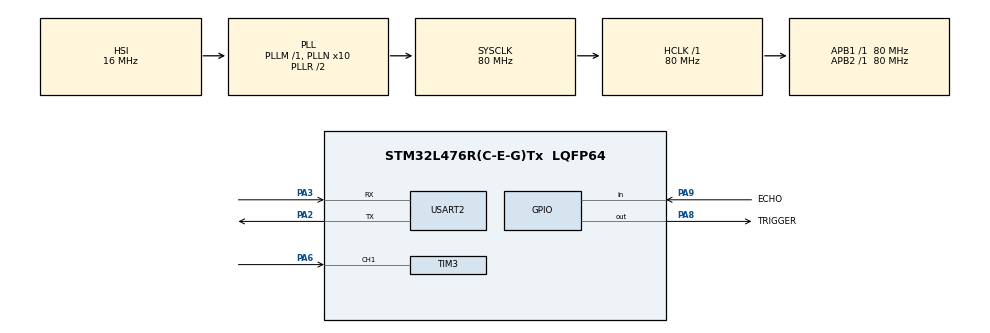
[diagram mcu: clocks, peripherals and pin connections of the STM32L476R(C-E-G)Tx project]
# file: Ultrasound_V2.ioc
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Mcu.Family=STM32L4
Mcu.Name=STM32L476R(C-E-G)Tx
Mcu.Package=LQFP64
NVIC.PriorityGroup=NVIC_PRIORITYGROUP_3
NVIC.TIM3_IRQn=true\:0\:0\:false\:false\:true\:true\:true
PA2.Mode=Asynchronous
PA2.Signal=USART2_TX
PA3.Mode=Asynchronous
PA3.Signal=USART2_RX
PA6.Signal=S_TIM3_CH1
PA8.GPIO_Label=TRIGGER
PA8.Signal=GPIO_Output
PA9.GPIO_Label=ECHO
PA9.Signal=GPIO_Input
ProjectManager.HeapSize=0x200
ProjectManager.StackSize=0x400
ProjectManager.TargetToolchain=STM32CubeIDE
RCC.ADCFreq_Value=64000000
RCC.AHBFreq_Value=80000000
RCC.APB1Freq_Value=80000000
RCC.APB1TimFreq_Value=80000000
RCC.APB2Freq_Value=80000000
RCC.APB2TimFreq_Value=80000000
RCC.CortexFreq_Value=80000000
RCC.HCLKFreq_Value=80000000
RCC.HSE_VALUE=8000000
RCC.HSI_VALUE=16000000
RCC.LSE_VALUE=32768
RCC.MSI_VALUE=4000000
RCC.PLLN=10
RCC.PLLSourceVirtual=RCC_PLLSOURCE_HSI
RCC.PREFETCH_ENABLE=1
RCC.SYSCLKFreq_VALUE=80000000
RCC.SYSCLKSource=RCC_SYSCLKSOURCE_PLLCLK
RCC.USBFreq_Value=64000000
RCC.VCOOutputFreq_Value=160000000
SH.S_TIM3_CH1.0=TIM3_CH1,Input_Capture1_from_TI1
TIM3.Channel-Input_Capture1_from_TI1=TIM_CHANNEL_1
TIM3.ICFilter_CH1=4
TIM3.ICPolarity_CH1=TIM_INPUTCHANNELPOLARITY_BOTHEDGE
TIM3.Period=65535-1
TIM3.Prescaler=80-1
TIM4.Period=0
TIM4.Prescaler=80-1
USART2.VirtualMode-Asynchronous=VM_ASYNC
VP_TIM3_VS_ClockSourceINT.Mode=Internal
VP_TIM4_VS_ClockSourceINT.Mode=Internal
board=NUCLEO-L476RG

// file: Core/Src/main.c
/* USER CODE BEGIN Header */
/**
  ******************************************************************************
  * @file           : main.c
  * @brief          : Main program body
  ******************************************************************************
  * @attention
  *
  * Copyright (c) 2022 STMicroelectronics.
  * All rights reserved.
  *
  * This software is licensed under terms that can be found in the LICENSE file
  * in the root directory of this software component.
  * If no LICENSE file comes with this software, it is provided AS-IS.
  *
  ******************************************************************************
  */
/* USER CODE END Header */
#include "main.h"

/* USER CODE BEGIN Includes */
#include <string.h>
#include <stdio.h>
/* USER CODE END Includes */

/* USER CODE BEGIN PTD */
#define usTIM TIM4
/* USER CODE END PTD */

TIM_HandleTypeDef htim3;
TIM_HandleTypeDef htim4;

UART_HandleTypeDef huart2;

void SystemClock_Config(void);
static void MX_GPIO_Init(void);
static void MX_TIM3_Init(void);
static void MX_TIM4_Init(void);
static void MX_USART2_UART_Init(void);
/* USER CODE BEGIN PFP */
void usDelay(uint32_t uSec);
float getDistance();
float getDistance_TRIG_INPUT();
/* USER CODE END PFP */

/* USER CODE BEGIN 0 */
uint8_t icFlag = 0;
uint8_t captureIdx=0;
uint32_t edge1Time=0, edge2Time=0;

const float speedOfSound = 0.0343/2;

char uartBuf[100];
/* USER CODE END 0 */

int main(void)
{
  /* USER CODE BEGIN 1 */
	float distance;
  /* USER CODE END 1 */

  /* MCU Configuration--------------------------------------------------------*/

  /* Reset of all peripherals, Initializes the Flash interface and the Systick. */
  HAL_Init();

  /* Configure the system clock */
  SystemClock_Config();

  /* Initialize all configured peripherals */
  MX_GPIO_Init();
  MX_TIM3_Init();
  MX_TIM4_Init();
  MX_USART2_UART_Init();

  /* Infinite loop */
  while (1)
  {
    /* USER CODE BEGIN 3 */

	  	  distance=getDistance_TRIG_INPUT();
		  //Print to UART terminal for debugging
		  sprintf(uartBuf, "Distance (cm)  = %.1f\r\n", distance);
		  HAL_UART_Transmit(&huart2, (uint8_t *)uartBuf, strlen(uartBuf), 100);

		  HAL_Delay(100);

  }
  /* USER CODE END 3 */
}

void SystemClock_Config(void)
{
  RCC_OscInitTypeDef RCC_OscInitStruct = {0};
  RCC_ClkInitTypeDef RCC_ClkInitStruct = {0};

  /** Configure the main internal regulator output voltage
  */
  if (HAL_PWREx_ControlVoltageScaling(PWR_REGULATOR_VOLTAGE_SCALE1) != HAL_OK)
  {
    Error_Handler();
  }
  /** Initializes the RCC Oscillators according to the specified parameters
  * in the RCC_OscInitTypeDef structure.
  */
  RCC_OscInitStruct.OscillatorType = RCC_OSCILLATORTYPE_HSI;
  RCC_OscInitStruct.HSIState = RCC_HSI_ON;
  RCC_OscInitStruct.HSICalibrationValue = RCC_HSICALIBRATION_DEFAULT;
  RCC_OscInitStruct.PLL.PLLState = RCC_PLL_ON;
  RCC_OscInitStruct.PLL.PLLSource = RCC_PLLSOURCE_HSI;
  RCC_OscInitStruct.PLL.PLLM = 1;
  RCC_OscInitStruct.PLL.PLLN = 10;
  RCC_OscInitStruct.PLL.PLLP = RCC_PLLP_DIV7;
  RCC_OscInitStruct.PLL.PLLQ = RCC_PLLQ_DIV2;
  RCC_OscInitStruct.PLL.PLLR = RCC_PLLR_DIV2;
  if (HAL_RCC_OscConfig(&RCC_OscInitStruct) != HAL_OK)
  {
    Error_Handler();
  }
  /** Initializes the CPU, AHB and APB buses clocks
  */
  RCC_ClkInitStruct.ClockType = RCC_CLOCKTYPE_HCLK|RCC_CLOCKTYPE_SYSCLK
                              |RCC_CLOCKTYPE_PCLK1|RCC_CLOCKTYPE_PCLK2;
  RCC_ClkInitStruct.SYSCLKSource = RCC_SYSCLKSOURCE_PLLCLK;
  RCC_ClkInitStruct.AHBCLKDivider = RCC_SYSCLK_DIV1;
  RCC_ClkInitStruct.APB1CLKDivider = RCC_HCLK_DIV1;
  RCC_ClkInitStruct.APB2CLKDivider = RCC_HCLK_DIV1;

  if (HAL_RCC_ClockConfig(&RCC_ClkInitStruct, FLASH_LATENCY_4) != HAL_OK)
  {
    Error_Handler();
  }
}

static void MX_TIM3_Init(void)
{

  TIM_ClockConfigTypeDef sClockSourceConfig = {0};
  TIM_MasterConfigTypeDef sMasterConfig = {0};
  TIM_IC_InitTypeDef sConfigIC = {0};

  htim3.Instance = TIM3;
  htim3.Init.Prescaler = 80-1;
  htim3.Init.CounterMode = TIM_COUNTERMODE_UP;
  htim3.Init.Period = 65535-1;
  htim3.Init.ClockDivision = TIM_CLOCKDIVISION_DIV1;
  htim3.Init.AutoReloadPreload = TIM_AUTORELOAD_PRELOAD_DISABLE;
  if (HAL_TIM_Base_Init(&htim3) != HAL_OK)
  {
    Error_Handler();
  }
  sClockSourceConfig.ClockSource = TIM_CLOCKSOURCE_INTERNAL;
  if (HAL_TIM_ConfigClockSource(&htim3, &sClockSourceConfig) != HAL_OK)
  {
    Error_Handler();
  }
  if (HAL_TIM_IC_Init(&htim3) != HAL_OK)
  {
    Error_Handler();
  }
  sMasterConfig.MasterOutputTrigger = TIM_TRGO_RESET;
  sMasterConfig.MasterSlaveMode = TIM_MASTERSLAVEMODE_DISABLE;
  if (HAL_TIMEx_MasterConfigSynchronization(&htim3, &sMasterConfig) != HAL_OK)
  {
    Error_Handler();
  }
  sConfigIC.ICPolarity = TIM_INPUTCHANNELPOLARITY_BOTHEDGE;
  sConfigIC.ICSelection = TIM_ICSELECTION_DIRECTTI;
  sConfigIC.ICPrescaler = TIM_ICPSC_DIV1;
  sConfigIC.ICFilter = 4;
  if (HAL_TIM_IC_ConfigChannel(&htim3, &sConfigIC, TIM_CHANNEL_1) != HAL_OK)
  {
    Error_Handler();
  }

}

static void MX_TIM4_Init(void)
{

  TIM_ClockConfigTypeDef sClockSourceConfig = {0};
  TIM_MasterConfigTypeDef sMasterConfig = {0};

  htim4.Instance = TIM4;
  htim4.Init.Prescaler = 80-1;
  htim4.Init.CounterMode = TIM_COUNTERMODE_UP;
  htim4.Init.Period = 0;
  htim4.Init.ClockDivision = TIM_CLOCKDIVISION_DIV1;
  htim4.Init.AutoReloadPreload = TIM_AUTORELOAD_PRELOAD_DISABLE;
  if (HAL_TIM_Base_Init(&htim4) != HAL_OK)
  {
    Error_Handler();
  }
  sClockSourceConfig.ClockSource = TIM_CLOCKSOURCE_INTERNAL;
  if (HAL_TIM_ConfigClockSource(&htim4, &sClockSourceConfig) != HAL_OK)
  {
    Error_Handler();
  }
  sMasterConfig.MasterOutputTrigger = TIM_TRGO_RESET;
  sMasterConfig.MasterSlaveMode = TIM_MASTERSLAVEMODE_DISABLE;
  if (HAL_TIMEx_MasterConfigSynchronization(&htim4, &sMasterConfig) != HAL_OK)
  {
    Error_Handler();
  }

}

static void MX_USART2_UART_Init(void)
{

  huart2.Instance = USART2;
  huart2.Init.BaudRate = 115200;
  huart2.Init.WordLength = UART_WORDLENGTH_8B;
  huart2.Init.StopBits = UART_STOPBITS_1;
  huart2.Init.Parity = UART_PARITY_NONE;
  huart2.Init.Mode = UART_MODE_TX_RX;
  huart2.Init.HwFlowCtl = UART_HWCONTROL_NONE;
  huart2.Init.OverSampling = UART_OVERSAMPLING_16;
  huart2.Init.OneBitSampling = UART_ONE_BIT_SAMPLE_DISABLE;
  huart2.AdvancedInit.AdvFeatureInit = UART_ADVFEATURE_NO_INIT;
  if (HAL_UART_Init(&huart2) != HAL_OK)
  {
    Error_Handler();
  }

}

static void MX_GPIO_Init(void)
{
  GPIO_InitTypeDef GPIO_InitStruct = {0};

  /* GPIO Ports Clock Enable */
  __HAL_RCC_GPIOA_CLK_ENABLE();

  /*Configure GPIO pin Output Level */
  HAL_GPIO_WritePin(TRIGGER_GPIO_Port, TRIGGER_Pin, GPIO_PIN_RESET);

  /*Configure GPIO pin : TRIGGER_Pin */
  GPIO_InitStruct.Pin = TRIGGER_Pin;
  GPIO_InitStruct.Mode = GPIO_MODE_OUTPUT_PP;
  GPIO_InitStruct.Pull = GPIO_NOPULL;
  GPIO_InitStruct.Speed = GPIO_SPEED_FREQ_LOW;
  HAL_GPIO_Init(TRIGGER_GPIO_Port, &GPIO_InitStruct);

  /*Configure GPIO pin : ECHO_Pin */
  GPIO_InitStruct.Pin = ECHO_Pin;
  GPIO_InitStruct.Mode = GPIO_MODE_INPUT;
  GPIO_InitStruct.Pull = GPIO_NOPULL;
  HAL_GPIO_Init(ECHO_GPIO_Port, &GPIO_InitStruct);

}

/* USER CODE BEGIN 4 */
void usDelay(uint32_t uSec)
{
	if(uSec < 2) uSec = 2;
	usTIM->ARR = uSec - 1; 	/*sets the value in the auto-reload register*/
	usTIM->EGR = 1; 			/*Re-initialises the timer*/
	usTIM->SR &= ~1; 		//Resets the flag
	usTIM->CR1 |= 1; 		//Enables the counter
	while((usTIM->SR&0x0001) != 1);
	usTIM->SR &= ~(0x0001);
}

float getDistance_TRIG_INPUT()
{
	float distance;
	uint32_t numTicks = 0;
	HAL_GPIO_WritePin(TRIGGER_GPIO_Port, TRIGGER_Pin, GPIO_PIN_RESET);
	usDelay(3);

	//*** START Ultrasonic measure routine ***//
	//1. Output 10 usec TRIGGER
	HAL_GPIO_WritePin(TRIGGER_GPIO_Port, TRIGGER_Pin, GPIO_PIN_SET);
	usDelay(10);
	HAL_GPIO_WritePin(TRIGGER_GPIO_Port, TRIGGER_Pin, GPIO_PIN_RESET);

	//2. Wait for ECHO pin rising edge
	while(HAL_GPIO_ReadPin(ECHO_GPIO_Port, ECHO_Pin) == GPIO_PIN_RESET);

	//3. Start measuring ECHO pulse width in usec
	numTicks = 0;
	while(HAL_GPIO_ReadPin(ECHO_GPIO_Port, ECHO_Pin) == GPIO_PIN_SET)
	{
		numTicks++;
		usDelay(2); //2.8usec
	};

	//4. Estimate distance in cm
	distance = (numTicks + 0.0f)*2.8*speedOfSound;
	return distance;

}

float getDistance()
{	  float distance;
	  HAL_GPIO_WritePin(TRIGGER_GPIO_Port, TRIGGER_Pin, GPIO_PIN_RESET);
	  usDelay(3);

	  //*** START Ultrasonic measure routine ***//
	  //1. Output 10 usec TRIG
	  HAL_GPIO_WritePin(TRIGGER_GPIO_Port, TRIGGER_Pin, GPIO_PIN_SET);
	  usDelay(10);
	  HAL_GPIO_WritePin(TRIGGER_GPIO_Port, TRIGGER_Pin, GPIO_PIN_RESET);

	  //2. ECHO signal pulse width
	  //Start IC timer
	  HAL_TIM_IC_Start_IT(&htim3, TIM_CHANNEL_1);
	  //Wait for IC flag
	  uint32_t startTick = HAL_GetTick();
	  do
	  {
		if(icFlag) break;
	  }while((HAL_GetTick() - startTick) < 500);  //500ms
	  icFlag = 0;
	  HAL_TIM_IC_Stop_IT(&htim3, TIM_CHANNEL_1);

	  //Calculate distance in cm
	  if(edge2Time > edge1Time)
	  {
		  distance = ((edge2Time - edge1Time) + 0.0f)*speedOfSound;
	  }
	  else
	  {
		  distance = -1.0f;
	  }
	  return distance;
}

void HAL_TIM_IC_CaptureCallback(TIM_HandleTypeDef *htim)
{
		if(captureIdx == 0) //Fisrt edge
		{
			edge1Time = HAL_TIM_ReadCapturedValue(htim, TIM_CHANNEL_1); //__HAL_TIM_GetCounter(&htim3);//

			captureIdx = 1;
		}
		else if(captureIdx == 1) //Second edge
		{
			edge2Time = HAL_TIM_ReadCapturedValue(htim, TIM_CHANNEL_1);
			captureIdx = 0;
			icFlag = 1;
		}
}

/* USER CODE END 4 */

void Error_Handler(void)
{
  __disable_irq();
  while (1)
  {
  }
}
